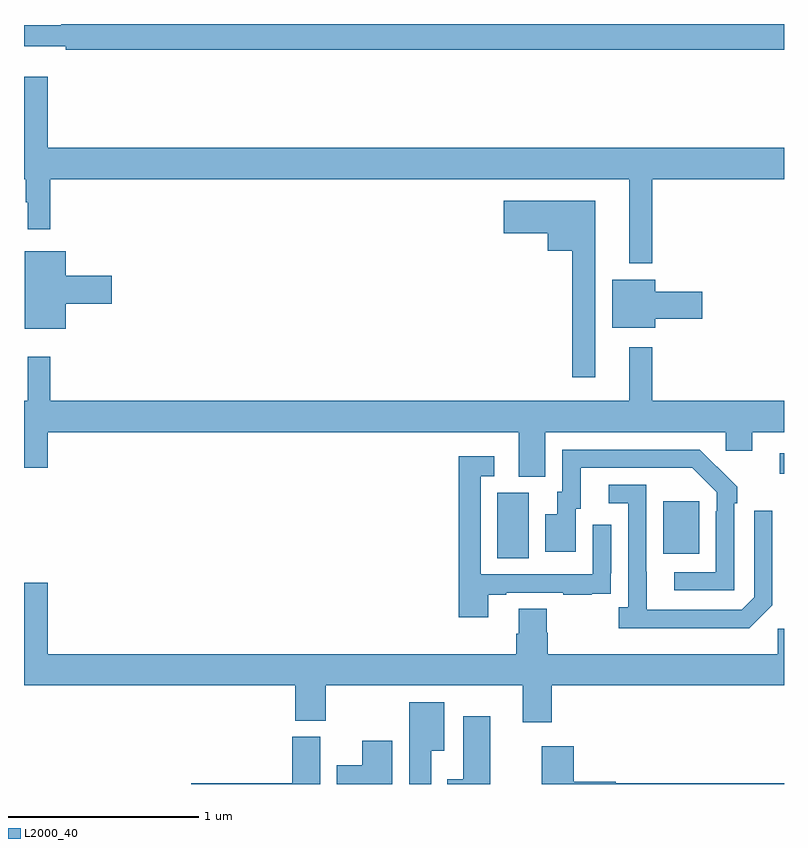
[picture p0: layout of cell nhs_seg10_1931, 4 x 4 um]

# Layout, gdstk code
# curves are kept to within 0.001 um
import gdstk
lib = gdstk.Library(unit=1e-6, precision=1e-09)
def R(c, l, rs):  # rectangles x0, y0, x1, y1
    for r in rs: c.add(gdstk.rectangle(r[:2], r[2:], *l))
def P(c, l, *ps):  # polygons
    for p in ps: c.add(gdstk.Polygon(p, *l))
L2000_40 = (2000, 40)

nhs_seg10_1931 = lib.new_cell('nhs_seg10_1931')
R(nhs_seg10_1931, L2000_40, [(215.492,1263.688,215.656,1264.032), (216.365,1263.713,216.553,1263.988), (216.978,1264.134,217,1264.242)])
P(nhs_seg10_1931, L2000_40, [(217,1266.5),(213.197,1266.5),(213.197,1266.493),(213,1266.493),(213,1266.383),(213.22,1266.383),(213.22,1266.364),(217,1266.364)],
  [(216.307,1265.684),(217,1265.684),(217,1265.848),(213.124,1265.848),(213.124,1266.223),(213,1266.223),(213,1265.684),(213.009,1265.684),(213.009,1265.561),(213.02,1265.561),(213.02,1265.421),(213.137,1265.421),(213.137,1265.684),(216.185,1265.684),(216.185,1265.24),(216.307,1265.24)],
  [(216.007,1265.569),(215.526,1265.569),(215.526,1265.399),(215.756,1265.399),(215.756,1265.306),(215.886,1265.306),(215.886,1264.641),(216.007,1264.641)],
  [(213.22,1265.027),(213.463,1265.027),(213.463,1265.174),(213.22,1265.174),(213.22,1265.305),(213.005,1265.305),(213.005,1264.895),(213.22,1264.895)],
  [(216.322,1264.948),(216.571,1264.948),(216.571,1265.09),(216.322,1265.09),(216.322,1265.155),(216.095,1265.155),(216.095,1264.901),(216.322,1264.901)],
  [(215.743,1264.352),(216.693,1264.352),(216.693,1264.254),(216.832,1264.254),(216.832,1264.352),(217,1264.352),(217,1264.516),(216.307,1264.516),(216.307,1264.798),(216.185,1264.798),(216.185,1264.516),(213.137,1264.516),(213.137,1264.75),(213.02,1264.75),(213.02,1264.516),(213,1264.516),(213,1264.164),(213.124,1264.164),(213.124,1264.352),(215.603,1264.352),(215.603,1264.117),(215.743,1264.117)],
  [(216.738,1263.977),(216.753,1263.977),(216.753,1264.065),(216.556,1264.26),(215.832,1264.26),(215.832,1264.038),(215.807,1264.038),(215.807,1263.919),(215.744,1263.919),(215.744,1263.723),(215.905,1263.723),(215.905,1263.948),(215.929,1263.948),(215.929,1264.164),(216.517,1264.164),(216.645,1264.035),(216.645,1263.935),(216.642,1263.935),(216.642,1263.615),(216.423,1263.615),(216.423,1263.519),(216.738,1263.519)],
  [(215.443,1263.495),(215.539,1263.495),(215.539,1263.507),(215.839,1263.507),(215.839,1263.495),(215.987,1263.495),(215.987,1263.501),(216.089,1263.501),(216.089,1263.61),(216.09,1263.61),(216.09,1263.865),(215.994,1263.865),(215.994,1263.603),(215.403,1263.603),(215.403,1264.119),(215.476,1264.119),(215.476,1264.225),(215.287,1264.225),(215.287,1263.378),(215.443,1263.378)],
  [(216.939,1263.441),(216.939,1263.937),(216.843,1263.937),(216.843,1263.483),(216.777,1263.417),(216.277,1263.417),(216.276,1264.074),(216.078,1264.074),(216.078,1263.978),(216.18,1263.978),(216.18,1263.43),(216.129,1263.43),(216.129,1263.32),(216.818,1263.32)],
  [(213.124,1263.559),(213,1263.559),(213,1263.02),(214.427,1263.02),(214.427,1262.833),(214.587,1262.833),(214.587,1263.02),(215.624,1263.02),(215.624,1262.826),(215.777,1262.826),(215.777,1263.02),(217,1263.02),(217,1263.316),(216.966,1263.316),(216.966,1263.184),(215.756,1263.184),(215.756,1263.297),(215.751,1263.297),(215.751,1263.422),(215.603,1263.422),(215.603,1263.29),(215.591,1263.29),(215.591,1263.184),(213.124,1263.184)],
  [(215.143,1262.675),(215.212,1262.675),(215.212,1262.929),(215.027,1262.929),(215.027,1262.5),(215.143,1262.5)],
  [(215.455,1262.857),(215.312,1262.857),(215.312,1262.524),(215.228,1262.524),(215.228,1262.5),(215.455,1262.5)],
  [(214.558,1262.748),(214.412,1262.748),(214.412,1262.504),(213.881,1262.504),(213.881,1262.5),(214.558,1262.5)],
  [(214.939,1262.728),(214.781,1262.728),(214.781,1262.599),(214.646,1262.599),(214.646,1262.5),(214.939,1262.5)],
  [(217,1262.504),(216.114,1262.504),(216.114,1262.512),(215.894,1262.512),(215.894,1262.698),(215.726,1262.698),(215.726,1262.5),(217,1262.5)])

lib.write_gds('nhs_seg10_1931.gds')
